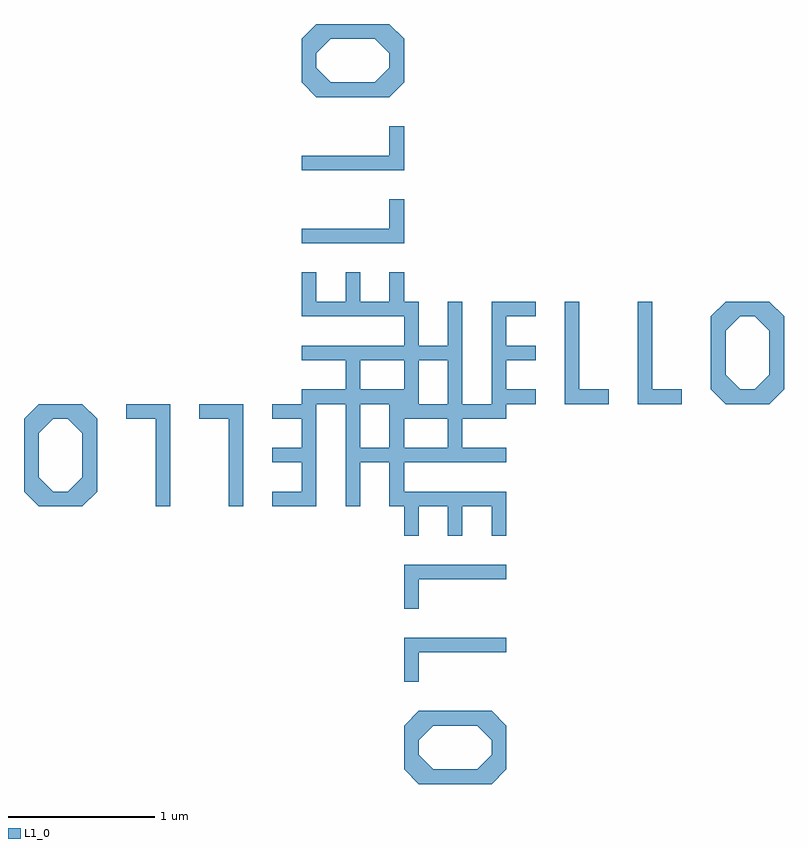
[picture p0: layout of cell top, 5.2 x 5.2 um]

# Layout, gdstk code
from math import pi, radians
import gdstk
lib = gdstk.Library(unit=1e-6, precision=1e-09)
def P(c, l, *ps):  # polygons
    for p in ps: c.add(gdstk.Polygon(p, *l))
L1_0 = (1, 0)

hello = lib.new_cell('hello')
P(hello, L1_0, [(0,0),(0,0.7),(0.1,0.7),(0.1,0.4),(0.3,0.4),(0.3,0.7),(0.4,0.7),(0.4,0),(0.3,0),(0.3,0.3),(0.1,0.3),(0.1,0)],
  [(0.6,0),(0.6,0.7),(0.9,0.7),(0.9,0.6),(0.7,0.6),(0.7,0.4),(0.9,0.4),(0.9,0.3),(0.7,0.3),(0.7,0.1),(0.9,0.1),(0.9,0)],
  [(1.1,0),(1.1,0.7),(1.2,0.7),(1.2,0.1),(1.4,0.1),(1.4,0)],
  [(1.6,0),(1.6,0.7),(1.7,0.7),(1.7,0.1),(1.9,0.1),(1.9,0)],
  [(2.1,0.2),(2.1,0.6),(2.2,0.7),(2.5,0.7),(2.6,0.6),(2.6,0.1),(2.5,0),(2.2,0),(2.1,0.1),(2.1,0.2),(2.2,0.2),(2.3,0.1),(2.4,0.1),(2.5,0.2),(2.5,0.5),(2.4,0.6),(2.3,0.6),(2.2,0.5),(2.2,0.2)])

top = lib.new_cell('top')
top.add(gdstk.Reference(hello, (0,0)))
top.add(gdstk.Reference(hello, (0,0), rotation=pi/2))
top.add(gdstk.Reference(hello, (0,0), rotation=pi))
top.add(gdstk.Reference(hello, (0,0), rotation=3*pi/2))

lib.write_gds('top.gds')
